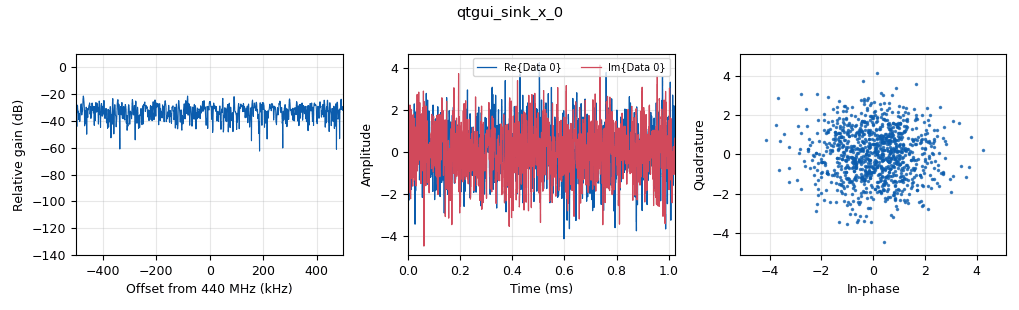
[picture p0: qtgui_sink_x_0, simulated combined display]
options:
  parameters:
    author: vivelpanel
    generate_options: qt_gui
    id: pulsar_simulator
    output_language: python
    title: Not titled yet
  states: {}

blocks:
- name: center_freq
  id: variable
  parameters:
    value: 440e6
  states: {}
- name: f_off
  id: variable
  parameters:
    value: .1e6
  states: {}
- name: 'off'
  id: variable
  parameters:
    value: '.01'
  states: {}
- name: per
  id: variable
  parameters:
    value: '.33'
  states: {}
- name: samp_rate
  id: variable
  parameters:
    value: 1e6
  states: {}
- name: analog_fastnoise_source_x_0
  id: analog_fastnoise_source_x
  parameters:
    amp: '1'
    noise_type: analog.GR_GAUSSIAN
    samples: '8192'
    seed: '234'
    type: complex
  states: {}
- name: analog_fastnoise_source_x_0_0
  id: analog_fastnoise_source_x
  parameters:
    amp: '.77'
    noise_type: analog.GR_GAUSSIAN
    samples: '8192'
    seed: '3872'
    type: complex
  states: {}
- name: analog_fastnoise_source_x_0_1
  id: analog_fastnoise_source_x
  parameters:
    amp: '1'
    noise_type: analog.GR_UNIFORM
    samples: '8192'
    seed: '9'
    type: complex
  states: {}
- name: analog_fastnoise_source_x_0_2
  id: analog_fastnoise_source_x
  parameters:
    amp: '.46'
    noise_type: analog.GR_GAUSSIAN
    samples: '8192'
    seed: '0'
    type: complex
  states: {}
- name: analog_noise_source_x_0
  id: analog_noise_source_x
  parameters:
    amp: '1'
    comment: Noise
    noise_type: analog.GR_GAUSSIAN
    seed: '55555'
    type: complex
  states: {}
- name: analog_sig_source_x_0
  id: analog_sig_source_x
  parameters:
    amp: '1'
    freq: center_freq - (4*f_off)
    offset: '0'
    phase: '0'
    samp_rate: samp_rate
    type: complex
    waveform: analog.GR_COS_WAVE
  states: {}
- name: analog_sig_source_x_0_0
  id: analog_sig_source_x
  parameters:
    amp: '1'
    comment: Pulsar
    freq: center_freq
    offset: '0'
    phase: '0'
    samp_rate: samp_rate
    type: complex
    waveform: analog.GR_COS_WAVE
  states: {}
- name: analog_sig_source_x_0_0_0
  id: analog_sig_source_x
  parameters:
    amp: '1'
    comment: |-
      Pulsar

      For SIMPLICITY's sake,
      estimating that dispersion
      is linear and frequencies
      are discrete (even though
      this is known to be false).
    freq: center_freq + (5*f_off)
    offset: '0'
    phase: '0'
    samp_rate: samp_rate
    type: complex
    waveform: analog.GR_COS_WAVE
  states: {}
- name: analog_sig_source_x_0_1
  id: analog_sig_source_x
  parameters:
    amp: '1'
    freq: center_freq - f_off
    offset: '0'
    phase: '0'
    samp_rate: samp_rate
    type: complex
    waveform: analog.GR_COS_WAVE
  states: {}
- name: analog_sig_source_x_0_1_0
  id: analog_sig_source_x
  parameters:
    amp: '1'
    freq: center_freq + (4*f_off)
    offset: '0'
    phase: '0'
    samp_rate: samp_rate
    type: complex
    waveform: analog.GR_COS_WAVE
  states: {}
- name: analog_sig_source_x_0_2
  id: analog_sig_source_x
  parameters:
    amp: '1'
    freq: center_freq - (2*f_off)
    offset: '0'
    phase: '0'
    samp_rate: samp_rate
    type: complex
    waveform: analog.GR_COS_WAVE
  states: {}
- name: analog_sig_source_x_0_2_0
  id: analog_sig_source_x
  parameters:
    amp: '1'
    freq: center_freq + (3*f_off)
    offset: '0'
    phase: '0'
    samp_rate: samp_rate
    type: complex
    waveform: analog.GR_COS_WAVE
  states: {}
- name: analog_sig_source_x_0_3
  id: analog_sig_source_x
  parameters:
    amp: '1'
    freq: center_freq - (3*f_off)
    offset: '0'
    phase: '0'
    samp_rate: samp_rate
    type: complex
    waveform: analog.GR_COS_WAVE
  states: {}
- name: analog_sig_source_x_0_3_0
  id: analog_sig_source_x
  parameters:
    amp: '1'
    freq: center_freq + (2*f_off)
    offset: '0'
    phase: '0'
    samp_rate: samp_rate
    type: complex
    waveform: analog.GR_COS_WAVE
  states: {}
- name: analog_sig_source_x_0_4
  id: analog_sig_source_x
  parameters:
    amp: '1'
    freq: center_freq + f_off
    offset: '0'
    phase: '0'
    samp_rate: samp_rate
    type: complex
    waveform: analog.GR_COS_WAVE
  states: {}
- name: blocks_add_xx_0
  id: blocks_add_xx
  parameters:
    type: complex
  states: {}
- name: blocks_add_xx_1
  id: blocks_add_xx
  parameters:
    num_inputs: '5'
    type: complex
  states: {}
- name: blocks_add_xx_2
  id: blocks_add_xx
  parameters:
    num_inputs: '10'
    type: complex
  states: {}
- name: blocks_throttle_0
  id: blocks_throttle
  parameters:
    samples_per_second: samp_rate
    type: complex
  states: {}
- name: epy_block_0
  id: epy_block
  parameters:
    _source_code: |
      """
      Embedded Python Blocks:

      Each time this file is saved, GRC will instantiate the first class it finds
      to get ports and parameters of your block. The arguments to __init__  will
      be the parameters. All of them are required to have default values!
      """

      import numpy as np
      from gnuradio import gr
      import time

      class blk(gr.sync_block):  # other base classes are basic_block, decim_block, interp_block
          """Embedded Python Block example - a simple multiply const"""

          def __init__(self, period=.33, offset=0):  # only default arguments here
              """arguments to this function show up as parameters in GRC"""
              gr.sync_block.__init__(
                  self,
                  name='Pulse',   # will show up in GRC
                  in_sig=[np.complex64],
                  out_sig=[np.complex64]
              )
              # if an attribute with the same name as a parameter is found,
              # a callback is registered (properties work, too).
              self.per = period
              self.off = offset
              self.s = time.time()

          def work(self, input_items, output_items):
              """example: multiply with constant"""
              pulse_flag = ((time.time() - self.s - self.off) % self.per) <= .01
              output_items[0][:] = input_items[0] * int(pulse_flag) * .5
              return len(output_items[0])
    offset: '0'
    period: per
  states: {}
- name: epy_block_0_0
  id: epy_block
  parameters:
    _source_code: |
      """
      Embedded Python Blocks:

      Each time this file is saved, GRC will instantiate the first class it finds
      to get ports and parameters of your block. The arguments to __init__  will
      be the parameters. All of them are required to have default values!
      """

      import numpy as np
      from gnuradio import gr
      import time

      class blk(gr.sync_block):  # other base classes are basic_block, decim_block, interp_block
          """Embedded Python Block example - a simple multiply const"""

          def __init__(self, period=.33, offset=0):  # only default arguments here
              """arguments to this function show up as parameters in GRC"""
              gr.sync_block.__init__(
                  self,
                  name='Pulse',   # will show up in GRC
                  in_sig=[np.complex64],
                  out_sig=[np.complex64]
              )
              # if an attribute with the same name as a parameter is found,
              # a callback is registered (properties work, too).
              self.per = period
              self.off = offset
              self.s = time.time()

          def work(self, input_items, output_items):
              """example: multiply with constant"""
              pulse_flag = ((time.time() - self.s - self.off) % self.per) <= .01
              output_items[0][:] = input_items[0] * int(pulse_flag) * .5
              return len(output_items[0])
    offset: '.4'
    period: per
  states: {}
- name: epy_block_0_1
  id: epy_block
  parameters:
    _source_code: |
      """
      Embedded Python Blocks:

      Each time this file is saved, GRC will instantiate the first class it finds
      to get ports and parameters of your block. The arguments to __init__  will
      be the parameters. All of them are required to have default values!
      """

      import numpy as np
      from gnuradio import gr
      import time

      class blk(gr.sync_block):  # other base classes are basic_block, decim_block, interp_block
          """Embedded Python Block example - a simple multiply const"""

          def __init__(self, period=.33, offset=0):  # only default arguments here
              """arguments to this function show up as parameters in GRC"""
              gr.sync_block.__init__(
                  self,
                  name='Pulse',   # will show up in GRC
                  in_sig=[np.complex64],
                  out_sig=[np.complex64]
              )
              # if an attribute with the same name as a parameter is found,
              # a callback is registered (properties work, too).
              self.per = period
              self.off = offset
              self.s = time.time()

          def work(self, input_items, output_items):
              """example: multiply with constant"""
              pulse_flag = ((time.time() - self.s - self.off) % self.per) <= .01
              output_items[0][:] = input_items[0] * int(pulse_flag) * .5
              return len(output_items[0])
    offset: '.3'
    period: per
  states: {}
- name: epy_block_0_2
  id: epy_block
  parameters:
    _source_code: |
      """
      Embedded Python Blocks:

      Each time this file is saved, GRC will instantiate the first class it finds
      to get ports and parameters of your block. The arguments to __init__  will
      be the parameters. All of them are required to have default values!
      """

      import numpy as np
      from gnuradio import gr
      import time

      class blk(gr.sync_block):  # other base classes are basic_block, decim_block, interp_block
          """Embedded Python Block example - a simple multiply const"""

          def __init__(self, period=.33, offset=0):  # only default arguments here
              """arguments to this function show up as parameters in GRC"""
              gr.sync_block.__init__(
                  self,
                  name='Pulse',   # will show up in GRC
                  in_sig=[np.complex64],
                  out_sig=[np.complex64]
              )
              # if an attribute with the same name as a parameter is found,
              # a callback is registered (properties work, too).
              self.per = period
              self.off = offset
              self.s = time.time()

          def work(self, input_items, output_items):
              """example: multiply with constant"""
              pulse_flag = ((time.time() - self.s - self.off) % self.per) <= .01
              output_items[0][:] = input_items[0] * int(pulse_flag) * .5
              return len(output_items[0])
    offset: '.2'
    period: per
  states: {}
- name: epy_block_0_3
  id: epy_block
  parameters:
    _source_code: |
      """
      Embedded Python Blocks:

      Each time this file is saved, GRC will instantiate the first class it finds
      to get ports and parameters of your block. The arguments to __init__  will
      be the parameters. All of them are required to have default values!
      """

      import numpy as np
      from gnuradio import gr
      import time

      class blk(gr.sync_block):  # other base classes are basic_block, decim_block, interp_block
          """Embedded Python Block example - a simple multiply const"""

          def __init__(self, period=.33, offset=0):  # only default arguments here
              """arguments to this function show up as parameters in GRC"""
              gr.sync_block.__init__(
                  self,
                  name='Pulse',   # will show up in GRC
                  in_sig=[np.complex64],
                  out_sig=[np.complex64]
              )
              # if an attribute with the same name as a parameter is found,
              # a callback is registered (properties work, too).
              self.per = period
              self.off = offset
              self.s = time.time()

          def work(self, input_items, output_items):
              """example: multiply with constant"""
              pulse_flag = ((time.time() - self.s - self.off) % self.per) <= .01
              output_items[0][:] = input_items[0] * int(pulse_flag) * .5
              return len(output_items[0])
    offset: '.5'
    period: per
  states: {}
- name: epy_block_0_3_0
  id: epy_block
  parameters:
    _source_code: |
      """
      Embedded Python Blocks:

      Each time this file is saved, GRC will instantiate the first class it finds
      to get ports and parameters of your block. The arguments to __init__  will
      be the parameters. All of them are required to have default values!
      """

      import numpy as np
      from gnuradio import gr
      import time

      class blk(gr.sync_block):  # other base classes are basic_block, decim_block, interp_block
          """Embedded Python Block example - a simple multiply const"""

          def __init__(self, period=.33, offset=0):  # only default arguments here
              """arguments to this function show up as parameters in GRC"""
              gr.sync_block.__init__(
                  self,
                  name='Pulse',   # will show up in GRC
                  in_sig=[np.complex64],
                  out_sig=[np.complex64]
              )
              # if an attribute with the same name as a parameter is found,
              # a callback is registered (properties work, too).
              self.per = period
              self.off = offset
              self.s = time.time()

          def work(self, input_items, output_items):
              """example: multiply with constant"""
              pulse_flag = ((time.time() - self.s - self.off) % self.per) <= .01
              output_items[0][:] = input_items[0] * int(pulse_flag) * .5
              return len(output_items[0])
    offset: '.6'
    period: per
  states: {}
- name: epy_block_0_3_1
  id: epy_block
  parameters:
    _source_code: |
      """
      Embedded Python Blocks:

      Each time this file is saved, GRC will instantiate the first class it finds
      to get ports and parameters of your block. The arguments to __init__  will
      be the parameters. All of them are required to have default values!
      """

      import numpy as np
      from gnuradio import gr
      import time

      class blk(gr.sync_block):  # other base classes are basic_block, decim_block, interp_block
          """Embedded Python Block example - a simple multiply const"""

          def __init__(self, period=.33, offset=0):  # only default arguments here
              """arguments to this function show up as parameters in GRC"""
              gr.sync_block.__init__(
                  self,
                  name='Pulse',   # will show up in GRC
                  in_sig=[np.complex64],
                  out_sig=[np.complex64]
              )
              # if an attribute with the same name as a parameter is found,
              # a callback is registered (properties work, too).
              self.per = period
              self.off = offset
              self.s = time.time()

          def work(self, input_items, output_items):
              """example: multiply with constant"""
              pulse_flag = ((time.time() - self.s - self.off) % self.per) <= .01
              output_items[0][:] = input_items[0] * int(pulse_flag) * .5
              return len(output_items[0])
    offset: '.7'
    period: per
  states: {}
- name: epy_block_0_3_2
  id: epy_block
  parameters:
    _source_code: |
      """
      Embedded Python Blocks:

      Each time this file is saved, GRC will instantiate the first class it finds
      to get ports and parameters of your block. The arguments to __init__  will
      be the parameters. All of them are required to have default values!
      """

      import numpy as np
      from gnuradio import gr
      import time

      class blk(gr.sync_block):  # other base classes are basic_block, decim_block, interp_block
          """Embedded Python Block example - a simple multiply const"""

          def __init__(self, period=.33, offset=0):  # only default arguments here
              """arguments to this function show up as parameters in GRC"""
              gr.sync_block.__init__(
                  self,
                  name='Pulse',   # will show up in GRC
                  in_sig=[np.complex64],
                  out_sig=[np.complex64]
              )
              # if an attribute with the same name as a parameter is found,
              # a callback is registered (properties work, too).
              self.per = period
              self.off = offset
              self.s = time.time()

          def work(self, input_items, output_items):
              """example: multiply with constant"""
              pulse_flag = ((time.time() - self.s - self.off) % self.per) <= .01
              output_items[0][:] = input_items[0] * int(pulse_flag) * .5
              return len(output_items[0])
    offset: '.8'
    period: per
  states: {}
- name: epy_block_0_3_3
  id: epy_block
  parameters:
    _source_code: |
      """
      Embedded Python Blocks:

      Each time this file is saved, GRC will instantiate the first class it finds
      to get ports and parameters of your block. The arguments to __init__  will
      be the parameters. All of them are required to have default values!
      """

      import numpy as np
      from gnuradio import gr
      import time

      class blk(gr.sync_block):  # other base classes are basic_block, decim_block, interp_block
          """Embedded Python Block example - a simple multiply const"""

          def __init__(self, period=.33, offset=0):  # only default arguments here
              """arguments to this function show up as parameters in GRC"""
              gr.sync_block.__init__(
                  self,
                  name='Pulse',   # will show up in GRC
                  in_sig=[np.complex64],
                  out_sig=[np.complex64]
              )
              # if an attribute with the same name as a parameter is found,
              # a callback is registered (properties work, too).
              self.per = period
              self.off = offset
              self.s = time.time()

          def work(self, input_items, output_items):
              """example: multiply with constant"""
              pulse_flag = ((time.time() - self.s - self.off) % self.per) <= .01
              output_items[0][:] = input_items[0] * int(pulse_flag) * .5
              return len(output_items[0])
    offset: '.9'
    period: per
  states: {}
- name: epy_block_0_4
  id: epy_block
  parameters:
    _source_code: |
      """
      Embedded Python Blocks:

      Each time this file is saved, GRC will instantiate the first class it finds
      to get ports and parameters of your block. The arguments to __init__  will
      be the parameters. All of them are required to have default values!
      """

      import numpy as np
      from gnuradio import gr
      import time

      class blk(gr.sync_block):  # other base classes are basic_block, decim_block, interp_block
          """Embedded Python Block example - a simple multiply const"""

          def __init__(self, period=.33, offset=0):  # only default arguments here
              """arguments to this function show up as parameters in GRC"""
              gr.sync_block.__init__(
                  self,
                  name='Pulse',   # will show up in GRC
                  in_sig=[np.complex64],
                  out_sig=[np.complex64]
              )
              # if an attribute with the same name as a parameter is found,
              # a callback is registered (properties work, too).
              self.per = period
              self.off = offset
              self.s = time.time()

          def work(self, input_items, output_items):
              """example: multiply with constant"""
              pulse_flag = ((time.time() - self.s - self.off) % self.per) <= .01
              output_items[0][:] = input_items[0] * int(pulse_flag) * .5
              return len(output_items[0])
    offset: '.1'
    period: per
  states: {}
- name: gr_digital_rf_digital_rf_sink_0
  id: gr_digital_rf_digital_rf_sink
  parameters:
    center_freqs: '[]'
    channel0: fake-misa
    checksum: 'False'
    comment: |-
      DON'T make time = 'now'
      because that causes issues
      when reading DRF data.
    compression_level: '0'
    debug: 'False'
    file_cadence_ms: '1000'
    ignore_tags: 'False'
    input: fc32
    is_continuous: 'True'
    marching_periods: 'True'
    metadata: '{}'
    min_chunksize: '0'
    nchan: '1'
    sample_rate_denominator: '1'
    sample_rate_numerator: int(samp_rate)
    start: ''
    stop_on_skipped: 'False'
    stop_on_time_tag: 'False'
    subdir_cadence_s: '3600'
    top_level_dir: C:\\Users\\vlpannel\\Desktop\\pulsar_sim
    uuid: ''
    vlen: '1'
  states: {}
- name: qtgui_sink_x_0
  id: qtgui_sink_x
  parameters:
    bw: samp_rate
    fc: center_freq
    fftsize: '1024'
    type: complex
  states: {}

connections:
- [analog_fastnoise_source_x_0, '0', blocks_add_xx_1, '0']
- [analog_fastnoise_source_x_0_0, '0', blocks_add_xx_1, '3']
- [analog_fastnoise_source_x_0_1, '0', blocks_add_xx_1, '1']
- [analog_fastnoise_source_x_0_2, '0', blocks_add_xx_1, '2']
- [analog_noise_source_x_0, '0', blocks_add_xx_1, '4']
- [analog_sig_source_x_0, '0', epy_block_0, '0']
- [analog_sig_source_x_0_0, '0', epy_block_0_0, '0']
- [analog_sig_source_x_0_0_0, '0', epy_block_0_3_3, '0']
- [analog_sig_source_x_0_1, '0', epy_block_0_1, '0']
- [analog_sig_source_x_0_1_0, '0', epy_block_0_3_2, '0']
- [analog_sig_source_x_0_2, '0', epy_block_0_2, '0']
- [analog_sig_source_x_0_2_0, '0', epy_block_0_3_1, '0']
- [analog_sig_source_x_0_3, '0', epy_block_0_4, '0']
- [analog_sig_source_x_0_3_0, '0', epy_block_0_3_0, '0']
- [analog_sig_source_x_0_4, '0', epy_block_0_3, '0']
- [blocks_add_xx_0, '0', blocks_throttle_0, '0']
- [blocks_add_xx_1, '0', blocks_add_xx_0, '1']
- [blocks_add_xx_2, '0', blocks_add_xx_0, '0']
- [blocks_throttle_0, '0', gr_digital_rf_digital_rf_sink_0, '0']
- [blocks_throttle_0, '0', qtgui_sink_x_0, '0']
- [epy_block_0, '0', blocks_add_xx_2, '0']
- [epy_block_0_0, '0', blocks_add_xx_2, '4']
- [epy_block_0_1, '0', blocks_add_xx_2, '3']
- [epy_block_0_2, '0', blocks_add_xx_2, '2']
- [epy_block_0_3, '0', blocks_add_xx_2, '5']
- [epy_block_0_3_0, '0', blocks_add_xx_2, '6']
- [epy_block_0_3_1, '0', blocks_add_xx_2, '7']
- [epy_block_0_3_2, '0', blocks_add_xx_2, '8']
- [epy_block_0_3_3, '0', blocks_add_xx_2, '9']
- [epy_block_0_4, '0', blocks_add_xx_2, '1']

metadata:
  file_format: 1
  grc_version: 3.10.3.0
